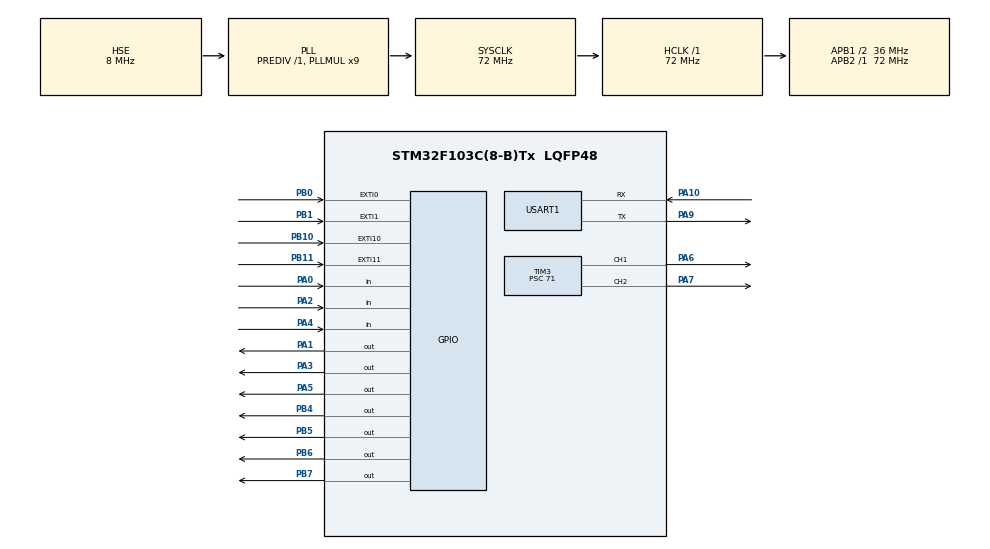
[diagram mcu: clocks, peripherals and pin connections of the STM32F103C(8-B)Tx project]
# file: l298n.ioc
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Dma.Request0=USART1_RX
Dma.Request1=USART1_TX
Dma.USART1_RX.0.Direction=DMA_PERIPH_TO_MEMORY
Dma.USART1_RX.0.Instance=DMA1_Channel5
Dma.USART1_RX.0.MemDataAlignment=DMA_MDATAALIGN_BYTE
Dma.USART1_RX.0.MemInc=DMA_MINC_ENABLE
Dma.USART1_RX.0.Mode=DMA_CIRCULAR
Dma.USART1_RX.0.PeriphDataAlignment=DMA_PDATAALIGN_BYTE
Dma.USART1_RX.0.PeriphInc=DMA_PINC_DISABLE
Dma.USART1_RX.0.Priority=DMA_PRIORITY_LOW
Dma.USART1_TX.1.Direction=DMA_MEMORY_TO_PERIPH
Dma.USART1_TX.1.Instance=DMA1_Channel4
Dma.USART1_TX.1.MemDataAlignment=DMA_MDATAALIGN_BYTE
Dma.USART1_TX.1.MemInc=DMA_MINC_ENABLE
Dma.USART1_TX.1.Mode=DMA_NORMAL
Dma.USART1_TX.1.PeriphDataAlignment=DMA_PDATAALIGN_BYTE
Dma.USART1_TX.1.PeriphInc=DMA_PINC_DISABLE
Dma.USART1_TX.1.Priority=DMA_PRIORITY_LOW
Mcu.Family=STM32F1
Mcu.Name=STM32F103C(8-B)Tx
Mcu.Package=LQFP48
NVIC.DMA1_Channel4_IRQn=true\:0\:0\:false\:false\:true\:false\:true\:true
NVIC.DMA1_Channel5_IRQn=true\:0\:0\:false\:false\:true\:false\:true\:true
NVIC.EXTI0_IRQn=true\:1\:0\:true\:false\:true\:true\:true\:true
NVIC.EXTI15_10_IRQn=true\:1\:0\:true\:false\:true\:true\:true\:true
NVIC.EXTI1_IRQn=true\:1\:0\:true\:false\:true\:true\:true\:true
NVIC.PriorityGroup=NVIC_PRIORITYGROUP_4
NVIC.USART1_IRQn=true\:2\:0\:true\:false\:true\:true\:true\:true
PA0-WKUP.Signal=GPIO_Input
PA1.Signal=GPIO_Output
PA10.Mode=Asynchronous
PA10.Signal=USART1_RX
PA13.Mode=Serial_Wire
PA13.Signal=SYS_JTMS-SWDIO
PA14.Mode=Serial_Wire
PA14.Signal=SYS_JTCK-SWCLK
PA2.Signal=GPIO_Input
PA3.Signal=GPIO_Output
PA4.Signal=GPIO_Input
PA5.Signal=GPIO_Output
PA6.Signal=S_TIM3_CH1
PA7.Signal=S_TIM3_CH2
PA9.Mode=Asynchronous
PA9.Signal=USART1_TX
PB0.GPIO_ModeDefaultEXTI=GPIO_MODE_IT_FALLING
PB0.GPIO_PuPd=GPIO_PULLUP
PB0.Signal=GPXTI0
PB1.GPIO_ModeDefaultEXTI=GPIO_MODE_IT_FALLING
PB1.GPIO_PuPd=GPIO_PULLUP
PB1.Signal=GPXTI1
PB10.GPIO_ModeDefaultEXTI=GPIO_MODE_IT_FALLING
PB10.GPIO_PuPd=GPIO_PULLUP
PB10.Signal=GPXTI10
PB11.GPIO_ModeDefaultEXTI=GPIO_MODE_IT_FALLING
PB11.GPIO_PuPd=GPIO_PULLUP
PB11.Signal=GPXTI11
PB4.Signal=GPIO_Output
PB5.Signal=GPIO_Output
PB6.Signal=GPIO_Output
PB7.Signal=GPIO_Output
PD0-OSC_IN.Mode=HSE-External-Oscillator
PD0-OSC_IN.Signal=RCC_OSC_IN
PD1-OSC_OUT.Mode=HSE-External-Oscillator
PD1-OSC_OUT.Signal=RCC_OSC_OUT
ProjectManager.HeapSize=0x200
ProjectManager.StackSize=0x400
ProjectManager.TargetToolchain=MDK-ARM V5.32
RCC.AHBFreq_Value=72000000
RCC.APB1CLKDivider=RCC_HCLK_DIV2
RCC.APB1Freq_Value=36000000
RCC.APB1TimFreq_Value=72000000
RCC.APB2Freq_Value=72000000
RCC.APB2TimFreq_Value=72000000
RCC.HCLKFreq_Value=72000000
RCC.PLLMUL=RCC_PLL_MUL9
RCC.PLLSourceVirtual=RCC_PLLSOURCE_HSE
RCC.SYSCLKFreq_VALUE=72000000
RCC.SYSCLKSource=RCC_SYSCLKSOURCE_PLLCLK
RCC.USBFreq_Value=72000000
SH.S_TIM3_CH1.0=TIM3_CH1,PWM Generation1 CH1
SH.S_TIM3_CH2.0=TIM3_CH2,PWM Generation2 CH2
TIM2.Prescaler=71
TIM3.Channel-PWM\ Generation1\ CH1=TIM_CHANNEL_1
TIM3.Channel-PWM\ Generation2\ CH2=TIM_CHANNEL_2
TIM3.Period=99
TIM3.Prescaler=71
USART1.VirtualMode=VM_ASYNC
VP_TIM2_VS_ClockSourceINT.Mode=Internal
board=custom

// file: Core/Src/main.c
/* USER CODE BEGIN Header */
/**
  ******************************************************************************
  * @file           : main.c
  * @brief          : Main program body
  ******************************************************************************
  * @attention
  *
  * Copyright (c) 2026 STMicroelectronics.
  * All rights reserved.
  *
  * This software is licensed under terms that can be found in the LICENSE file
  * in the root directory of this software component.
  * If no LICENSE file comes with this software, it is provided AS-IS.
  *
  ******************************************************************************
  */
/* USER CODE END Header */
#include "main.h"

/* USER CODE BEGIN Includes */
#include "Motor.h"
#include "line_sensor.h"
#include "ultrasonic.h"
#include "fuzzy.h"
#include "Robot_Control.h"
#include "message.h"
#include "uart.h"
/* USER CODE END Includes */

TIM_HandleTypeDef htim2;
TIM_HandleTypeDef htim3;

UART_HandleTypeDef huart1;
DMA_HandleTypeDef hdma_usart1_rx;
DMA_HandleTypeDef hdma_usart1_tx;

/* USER CODE BEGIN PV */
volatile float speed_multiplier = 0.0f;
volatile uint8_t robot_mode = 0;
/* USER CODE END PV */

void SystemClock_Config(void);
static void MX_GPIO_Init(void);
static void MX_DMA_Init(void);
static void MX_TIM3_Init(void);
static void MX_TIM2_Init(void);
static void MX_USART1_UART_Init(void);

int main(void)
{

  /* MCU Configuration--------------------------------------------------------*/

  /* Reset of all peripherals, Initializes the Flash interface and the Systick. */
  HAL_Init();

  /* Configure the system clock */
  SystemClock_Config();

  /* Initialize all configured peripherals */
  MX_GPIO_Init();
  MX_DMA_Init();
  MX_TIM3_Init();
  MX_TIM2_Init();
  MX_USART1_UART_Init();
  /* USER CODE BEGIN 2 */
  Motor_Init();
  Line_Init();
  Ultra_Init();
  /* USER CODE END 2 */

  /* Infinite loop */
  /* USER CODE BEGIN WHILE */

  // Ra lệnh cho UART bắt đầu nghe, nghe đến khi nào dây tín hiệu "nghỉ" (Idle) thì báo ngắt
  UART_DMA_Init();
	//volatile UltraState u;
  while (1)
  {
    /* USER CODE END WHILE */

    /* USER CODE BEGIN 3 */

//u = Ultra_ReadAll();
	if (data_ready_flag == 1) {
		  data_ready_flag = 0;
		  CMD_Process(main_buffer, rx_data_len);
	  }

	  if (speed_multiplier) {
		  if (robot_mode == 0) {
			  Robot_Run();  // Auto mode only
		  }
		  // Manual mode: do nothing here, CMD_Process handles motors
	  } else {
		  Motor_Stop();  // Power off = stop
	  }

	}
  /* USER CODE END 3 */
}

void SystemClock_Config(void)
{
  RCC_OscInitTypeDef RCC_OscInitStruct = {0};
  RCC_ClkInitTypeDef RCC_ClkInitStruct = {0};

  /** Initializes the RCC Oscillators according to the specified parameters
  * in the RCC_OscInitTypeDef structure.
  */
  RCC_OscInitStruct.OscillatorType = RCC_OSCILLATORTYPE_HSE;
  RCC_OscInitStruct.HSEState = RCC_HSE_ON;
  RCC_OscInitStruct.HSEPredivValue = RCC_HSE_PREDIV_DIV1;
  RCC_OscInitStruct.HSIState = RCC_HSI_ON;
  RCC_OscInitStruct.PLL.PLLState = RCC_PLL_ON;
  RCC_OscInitStruct.PLL.PLLSource = RCC_PLLSOURCE_HSE;
  RCC_OscInitStruct.PLL.PLLMUL = RCC_PLL_MUL9;
  if (HAL_RCC_OscConfig(&RCC_OscInitStruct) != HAL_OK)
  {
    Error_Handler();
  }

  /** Initializes the CPU, AHB and APB buses clocks
  */
  RCC_ClkInitStruct.ClockType = RCC_CLOCKTYPE_HCLK|RCC_CLOCKTYPE_SYSCLK
                              |RCC_CLOCKTYPE_PCLK1|RCC_CLOCKTYPE_PCLK2;
  RCC_ClkInitStruct.SYSCLKSource = RCC_SYSCLKSOURCE_PLLCLK;
  RCC_ClkInitStruct.AHBCLKDivider = RCC_SYSCLK_DIV1;
  RCC_ClkInitStruct.APB1CLKDivider = RCC_HCLK_DIV2;
  RCC_ClkInitStruct.APB2CLKDivider = RCC_HCLK_DIV1;

  if (HAL_RCC_ClockConfig(&RCC_ClkInitStruct, FLASH_LATENCY_2) != HAL_OK)
  {
    Error_Handler();
  }
}

static void MX_TIM2_Init(void)
{

  TIM_ClockConfigTypeDef sClockSourceConfig = {0};
  TIM_MasterConfigTypeDef sMasterConfig = {0};

  htim2.Instance = TIM2;
  htim2.Init.Prescaler = 71;
  htim2.Init.CounterMode = TIM_COUNTERMODE_UP;
  htim2.Init.Period = 65535;
  htim2.Init.ClockDivision = TIM_CLOCKDIVISION_DIV1;
  htim2.Init.AutoReloadPreload = TIM_AUTORELOAD_PRELOAD_DISABLE;
  if (HAL_TIM_Base_Init(&htim2) != HAL_OK)
  {
    Error_Handler();
  }
  sClockSourceConfig.ClockSource = TIM_CLOCKSOURCE_INTERNAL;
  if (HAL_TIM_ConfigClockSource(&htim2, &sClockSourceConfig) != HAL_OK)
  {
    Error_Handler();
  }
  sMasterConfig.MasterOutputTrigger = TIM_TRGO_RESET;
  sMasterConfig.MasterSlaveMode = TIM_MASTERSLAVEMODE_DISABLE;
  if (HAL_TIMEx_MasterConfigSynchronization(&htim2, &sMasterConfig) != HAL_OK)
  {
    Error_Handler();
  }

}

static void MX_TIM3_Init(void)
{

  TIM_MasterConfigTypeDef sMasterConfig = {0};
  TIM_OC_InitTypeDef sConfigOC = {0};

  htim3.Instance = TIM3;
  htim3.Init.Prescaler = 71;
  htim3.Init.CounterMode = TIM_COUNTERMODE_UP;
  htim3.Init.Period = 99;
  htim3.Init.ClockDivision = TIM_CLOCKDIVISION_DIV1;
  htim3.Init.AutoReloadPreload = TIM_AUTORELOAD_PRELOAD_DISABLE;
  if (HAL_TIM_PWM_Init(&htim3) != HAL_OK)
  {
    Error_Handler();
  }
  sMasterConfig.MasterOutputTrigger = TIM_TRGO_RESET;
  sMasterConfig.MasterSlaveMode = TIM_MASTERSLAVEMODE_DISABLE;
  if (HAL_TIMEx_MasterConfigSynchronization(&htim3, &sMasterConfig) != HAL_OK)
  {
    Error_Handler();
  }
  sConfigOC.OCMode = TIM_OCMODE_PWM1;
  sConfigOC.Pulse = 0;
  sConfigOC.OCPolarity = TIM_OCPOLARITY_HIGH;
  sConfigOC.OCFastMode = TIM_OCFAST_DISABLE;
  if (HAL_TIM_PWM_ConfigChannel(&htim3, &sConfigOC, TIM_CHANNEL_1) != HAL_OK)
  {
    Error_Handler();
  }
  if (HAL_TIM_PWM_ConfigChannel(&htim3, &sConfigOC, TIM_CHANNEL_2) != HAL_OK)
  {
    Error_Handler();
  }
  HAL_TIM_MspPostInit(&htim3);

}

static void MX_USART1_UART_Init(void)
{

  huart1.Instance = USART1;
  huart1.Init.BaudRate = 115200;
  huart1.Init.WordLength = UART_WORDLENGTH_8B;
  huart1.Init.StopBits = UART_STOPBITS_1;
  huart1.Init.Parity = UART_PARITY_NONE;
  huart1.Init.Mode = UART_MODE_TX_RX;
  huart1.Init.HwFlowCtl = UART_HWCONTROL_NONE;
  huart1.Init.OverSampling = UART_OVERSAMPLING_16;
  if (HAL_UART_Init(&huart1) != HAL_OK)
  {
    Error_Handler();
  }

}

static void MX_DMA_Init(void)
{

  /* DMA controller clock enable */
  __HAL_RCC_DMA1_CLK_ENABLE();

  /* DMA interrupt init */
  /* DMA1_Channel4_IRQn interrupt configuration */
  HAL_NVIC_SetPriority(DMA1_Channel4_IRQn, 0, 0);
  HAL_NVIC_EnableIRQ(DMA1_Channel4_IRQn);
  /* DMA1_Channel5_IRQn interrupt configuration */
  HAL_NVIC_SetPriority(DMA1_Channel5_IRQn, 0, 0);
  HAL_NVIC_EnableIRQ(DMA1_Channel5_IRQn);

}

static void MX_GPIO_Init(void)
{
  GPIO_InitTypeDef GPIO_InitStruct = {0};

  /* GPIO Ports Clock Enable */
  __HAL_RCC_GPIOD_CLK_ENABLE();
  __HAL_RCC_GPIOA_CLK_ENABLE();
  __HAL_RCC_GPIOB_CLK_ENABLE();

  /*Configure GPIO pin Output Level */
  HAL_GPIO_WritePin(GPIOA, GPIO_PIN_1|GPIO_PIN_3|GPIO_PIN_5, GPIO_PIN_RESET);

  /*Configure GPIO pin Output Level */
  HAL_GPIO_WritePin(GPIOB, GPIO_PIN_4|GPIO_PIN_5|GPIO_PIN_6|GPIO_PIN_7, GPIO_PIN_RESET);

  /*Configure GPIO pins : PA0 PA2 PA4 */
  GPIO_InitStruct.Pin = GPIO_PIN_0|GPIO_PIN_2|GPIO_PIN_4;
  GPIO_InitStruct.Mode = GPIO_MODE_INPUT;
  GPIO_InitStruct.Pull = GPIO_NOPULL;
  HAL_GPIO_Init(GPIOA, &GPIO_InitStruct);

  /*Configure GPIO pins : PA1 PA3 PA5 */
  GPIO_InitStruct.Pin = GPIO_PIN_1|GPIO_PIN_3|GPIO_PIN_5;
  GPIO_InitStruct.Mode = GPIO_MODE_OUTPUT_PP;
  GPIO_InitStruct.Pull = GPIO_NOPULL;
  GPIO_InitStruct.Speed = GPIO_SPEED_FREQ_LOW;
  HAL_GPIO_Init(GPIOA, &GPIO_InitStruct);

  /*Configure GPIO pins : PB0 PB1 PB10 PB11 */
  GPIO_InitStruct.Pin = GPIO_PIN_0|GPIO_PIN_1|GPIO_PIN_10|GPIO_PIN_11;
  GPIO_InitStruct.Mode = GPIO_MODE_IT_FALLING;
  GPIO_InitStruct.Pull = GPIO_PULLUP;
  HAL_GPIO_Init(GPIOB, &GPIO_InitStruct);

  /*Configure GPIO pins : PB4 PB5 PB6 PB7 */
  GPIO_InitStruct.Pin = GPIO_PIN_4|GPIO_PIN_5|GPIO_PIN_6|GPIO_PIN_7;
  GPIO_InitStruct.Mode = GPIO_MODE_OUTPUT_PP;
  GPIO_InitStruct.Pull = GPIO_NOPULL;
  GPIO_InitStruct.Speed = GPIO_SPEED_FREQ_LOW;
  HAL_GPIO_Init(GPIOB, &GPIO_InitStruct);

  /* EXTI interrupt init*/
  HAL_NVIC_SetPriority(EXTI0_IRQn, 1, 0);
  HAL_NVIC_EnableIRQ(EXTI0_IRQn);

  HAL_NVIC_SetPriority(EXTI1_IRQn, 1, 0);
  HAL_NVIC_EnableIRQ(EXTI1_IRQn);

  HAL_NVIC_SetPriority(EXTI15_10_IRQn, 1, 0);
  HAL_NVIC_EnableIRQ(EXTI15_10_IRQn);

}

void Error_Handler(void)
{
  __disable_irq();
  while (1)
  {
  }
}
